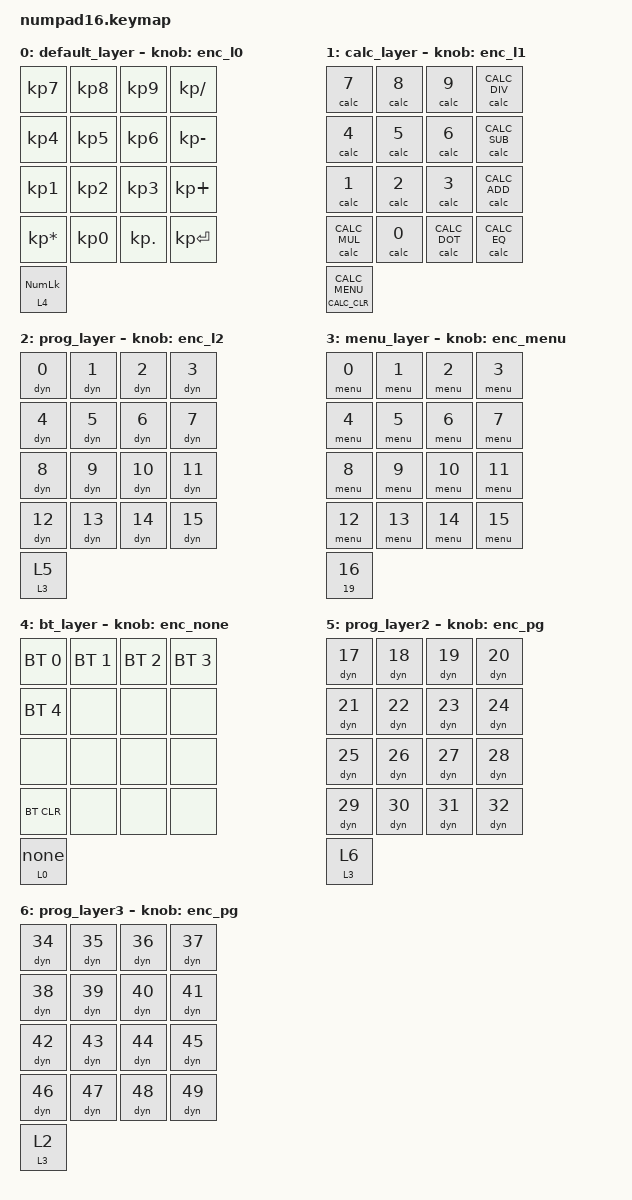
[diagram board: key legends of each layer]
#include <behaviors.dtsi>
#include <dt-bindings/zmk/keys.h>
#include <dt-bindings/zmk/bt.h>

#define CALC_DOT 10
#define CALC_ADD 11
#define CALC_SUB 12
#define CALC_MUL 13
#define CALC_DIV 14
#define CALC_EQ 15
#define CALC_CLR 16
#define CALC_CW 17
#define CALC_CCW 18
#define CALC_MENU 19

/ {
    behaviors {
        calc: calc {
            compatible = "zmk,behavior-calc";
            #binding-cells = <1>;
            display-name = "Calc";
        };

        dyn: dyn {
            compatible = "zmk,behavior-dyn";
            #binding-cells = <1>;
            display-name = "Dyn";
        };

        menu: menu {
            compatible = "zmk,behavior-menu";
            #binding-cells = <1>;
            display-name = "Menu";
        };

        ht_menu: ht_menu {
            compatible = "zmk,behavior-hold-tap";
            #binding-cells = <2>;
            flavor = "tap-preferred";
            tapping-term-ms = <600>;
            bindings = <&to>, <&dyn>;
        };

        ht_exit: ht_exit {
            compatible = "zmk,behavior-hold-tap";
            #binding-cells = <2>;
            flavor = "tap-preferred";
            tapping-term-ms = <600>;
            bindings = <&menu>, <&menu>;
        };

        ht_calc: ht_calc {
            compatible = "zmk,behavior-hold-tap";
            #binding-cells = <2>;
            flavor = "tap-preferred";
            tapping-term-ms = <600>;
            bindings = <&calc>, <&calc>;
        };

        ht_l0: ht_l0 {
            compatible = "zmk,behavior-hold-tap";
            #binding-cells = <2>;
            flavor = "tap-preferred";
            tapping-term-ms = <600>;
            bindings = <&to>, <&kp>;
        };

        ht_bt: ht_bt {
            compatible = "zmk,behavior-hold-tap";
            #binding-cells = <2>;
            flavor = "tap-preferred";
            tapping-term-ms = <600>;
            bindings = <&to>, <&none>;
        };

        enc_none: enc_none {
            compatible = "zmk,behavior-sensor-rotate";
            #sensor-binding-cells = <0>;
            bindings = <&none>, <&none>;
        };

        ht_pg: ht_pg {
            compatible = "zmk,behavior-hold-tap";
            #binding-cells = <2>;
            flavor = "tap-preferred";
            tapping-term-ms = <600>;
            bindings = <&to>, <&to>;
        };

        enc_pg: enc_pg {
            compatible = "zmk,behavior-sensor-rotate";
            #sensor-binding-cells = <0>;
            bindings = <&none>, <&to 1>;
        };

        enc_l0: enc_l0 {
            compatible = "zmk,behavior-sensor-rotate";
            #sensor-binding-cells = <0>;
            bindings = <&to 1>, <&to 0>;
        };

        enc_l1: enc_l1 {
            compatible = "zmk,behavior-sensor-rotate";
            #sensor-binding-cells = <0>;
            bindings = <&calc CALC_CW>, <&calc CALC_CCW>;
        };

        enc_l2: enc_l2 {
            compatible = "zmk,behavior-sensor-rotate";
            #sensor-binding-cells = <0>;
            bindings = <&to 2>, <&to 1>;
        };

        enc_menu: enc_menu {
            compatible = "zmk,behavior-sensor-rotate";
            #sensor-binding-cells = <0>;
            bindings = <&menu 17>, <&menu 18>;
        };
    };

    keymap {
        compatible = "zmk,keymap";

        default_layer {
            bindings = <
                &kp KP_N7  &kp KP_N8        &kp KP_N9   &kp KP_DIVIDE
                &kp KP_N4  &kp KP_N5        &kp KP_N6   &kp KP_MINUS
                &kp KP_N1  &kp KP_N2        &kp KP_N3   &kp KP_PLUS
                &kp KP_MULTIPLY  &kp KP_N0  &kp KP_DOT  &kp KP_ENTER
                &ht_l0 4 KP_NUMLOCK
            >;

            sensor-bindings = <&enc_l0>;
        };

        calc_layer {
            bindings = <
                &calc 7  &calc 8         &calc 9         &calc CALC_DIV
                &calc 4  &calc 5         &calc 6         &calc CALC_SUB
                &calc 1  &calc 2         &calc 3         &calc CALC_ADD
                &calc CALC_MUL  &calc 0  &calc CALC_DOT  &calc CALC_EQ
                &ht_calc CALC_CLR CALC_MENU
            >;

            sensor-bindings = <&enc_l1>;
        };

        prog_layer {
            bindings = <
                &dyn 0   &dyn 1   &dyn 2   &dyn 3
                &dyn 4   &dyn 5   &dyn 6   &dyn 7
                &dyn 8   &dyn 9   &dyn 10  &dyn 11
                &dyn 12  &dyn 13  &dyn 14  &dyn 15
                &ht_pg 3 5
            >;

            sensor-bindings = <&enc_l2>;
        };

        menu_layer {
            bindings = <
                &menu 0   &menu 1   &menu 2   &menu 3
                &menu 4   &menu 5   &menu 6   &menu 7
                &menu 8   &menu 9   &menu 10  &menu 11
                &menu 12  &menu 13  &menu 14  &menu 15
                &ht_exit 19 16
            >;

            sensor-bindings = <&enc_menu>;
        };

        bt_layer {
            bindings = <
                &bt BT_SEL 0  &bt BT_SEL 1  &bt BT_SEL 2  &bt BT_SEL 3
                &bt BT_SEL 4  &none         &none         &none
                &none         &none         &none         &none
                &bt BT_CLR    &none         &none         &none
                &ht_bt 0 0
            >;

            sensor-bindings = <&enc_none>;
        };

        prog_layer2 {
            bindings = <
                &dyn 17  &dyn 18  &dyn 19  &dyn 20
                &dyn 21  &dyn 22  &dyn 23  &dyn 24
                &dyn 25  &dyn 26  &dyn 27  &dyn 28
                &dyn 29  &dyn 30  &dyn 31  &dyn 32
                &ht_pg 3 6
            >;

            sensor-bindings = <&enc_pg>;
        };

        prog_layer3 {
            bindings = <
                &dyn 34  &dyn 35  &dyn 36  &dyn 37
                &dyn 38  &dyn 39  &dyn 40  &dyn 41
                &dyn 42  &dyn 43  &dyn 44  &dyn 45
                &dyn 46  &dyn 47  &dyn 48  &dyn 49
                &ht_pg 3 2
            >;

            sensor-bindings = <&enc_pg>;
        };
    };
};
